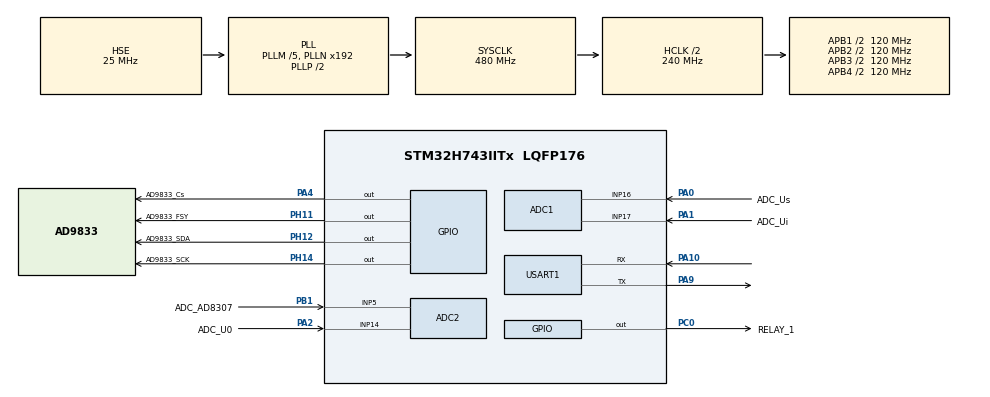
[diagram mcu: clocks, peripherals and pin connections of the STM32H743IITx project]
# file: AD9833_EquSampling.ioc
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ADC1.Channel-0\#ChannelRegularConversion=ADC_CHANNEL_16
ADC1.Channel-1\#ChannelRegularConversion=ADC_CHANNEL_17
ADC1.ConversionDataManagement=ADC_CONVERSIONDATA_DMA_ONESHOT
ADC1.ExternalTrigConv=ADC_EXTERNALTRIG_T3_TRGO
ADC1.NbrOfConversion=2
ADC1.NbrOfConversionFlag=1
ADC1.OffsetNumber-0\#ChannelRegularConversion=ADC_OFFSET_NONE
ADC1.OffsetNumber-1\#ChannelRegularConversion=ADC_OFFSET_NONE
ADC1.OffsetSignedSaturation-0\#ChannelRegularConversion=DISABLE
ADC1.OffsetSignedSaturation-1\#ChannelRegularConversion=DISABLE
ADC1.Rank-0\#ChannelRegularConversion=1
ADC1.Rank-1\#ChannelRegularConversion=2
ADC1.SamplingTime-0\#ChannelRegularConversion=ADC_SAMPLETIME_64CYCLES_5
ADC1.SamplingTime-1\#ChannelRegularConversion=ADC_SAMPLETIME_64CYCLES_5
ADC1.master=1
ADC2.Channel-0\#ChannelRegularConversion=ADC_CHANNEL_14
ADC2.Channel-1\#ChannelRegularConversion=ADC_CHANNEL_5
ADC2.ConversionDataManagement=ADC_CONVERSIONDATA_DMA_ONESHOT
ADC2.ExternalTrigConv=ADC_EXTERNALTRIG_T3_TRGO
ADC2.NbrOfConversion=2
ADC2.NbrOfConversionFlag=1
ADC2.OffsetNumber-0\#ChannelRegularConversion=ADC_OFFSET_NONE
ADC2.OffsetNumber-1\#ChannelRegularConversion=ADC_OFFSET_NONE
ADC2.OffsetSignedSaturation-0\#ChannelRegularConversion=DISABLE
ADC2.OffsetSignedSaturation-1\#ChannelRegularConversion=DISABLE
ADC2.Rank-0\#ChannelRegularConversion=1
ADC2.Rank-1\#ChannelRegularConversion=2
ADC2.SamplingTime-0\#ChannelRegularConversion=ADC_SAMPLETIME_64CYCLES_5
ADC2.SamplingTime-1\#ChannelRegularConversion=ADC_SAMPLETIME_64CYCLES_5
Dma.ADC1.0.Direction=DMA_PERIPH_TO_MEMORY
Dma.ADC1.0.EventEnable=DISABLE
Dma.ADC1.0.FIFOMode=DMA_FIFOMODE_DISABLE
Dma.ADC1.0.Instance=DMA1_Stream0
Dma.ADC1.0.MemDataAlignment=DMA_MDATAALIGN_HALFWORD
Dma.ADC1.0.MemInc=DMA_MINC_ENABLE
Dma.ADC1.0.Mode=DMA_NORMAL
Dma.ADC1.0.PeriphDataAlignment=DMA_PDATAALIGN_HALFWORD
Dma.ADC1.0.PeriphInc=DMA_PINC_DISABLE
Dma.ADC1.0.Polarity=HAL_DMAMUX_REQ_GEN_RISING
Dma.ADC1.0.Priority=DMA_PRIORITY_LOW
Dma.ADC1.0.RequestNumber=1
Dma.ADC1.0.SignalID=NONE
Dma.ADC1.0.SyncEnable=DISABLE
Dma.ADC1.0.SyncPolarity=HAL_DMAMUX_SYNC_NO_EVENT
Dma.ADC1.0.SyncRequestNumber=1
Dma.ADC1.0.SyncSignalID=NONE
Dma.ADC2.1.Direction=DMA_PERIPH_TO_MEMORY
Dma.ADC2.1.EventEnable=DISABLE
Dma.ADC2.1.FIFOMode=DMA_FIFOMODE_DISABLE
Dma.ADC2.1.Instance=DMA1_Stream1
Dma.ADC2.1.MemDataAlignment=DMA_MDATAALIGN_HALFWORD
Dma.ADC2.1.MemInc=DMA_MINC_ENABLE
Dma.ADC2.1.Mode=DMA_NORMAL
Dma.ADC2.1.PeriphDataAlignment=DMA_PDATAALIGN_HALFWORD
Dma.ADC2.1.PeriphInc=DMA_PINC_DISABLE
Dma.ADC2.1.Polarity=HAL_DMAMUX_REQ_GEN_RISING
Dma.ADC2.1.Priority=DMA_PRIORITY_LOW
Dma.ADC2.1.RequestNumber=1
Dma.ADC2.1.SignalID=NONE
Dma.ADC2.1.SyncEnable=DISABLE
Dma.ADC2.1.SyncPolarity=HAL_DMAMUX_SYNC_NO_EVENT
Dma.ADC2.1.SyncRequestNumber=1
Dma.ADC2.1.SyncSignalID=NONE
Dma.Request0=ADC1
Dma.Request1=ADC2
Mcu.Family=STM32H7
Mcu.Name=STM32H743IITx
Mcu.Package=LQFP176
NVIC.DMA1_Stream0_IRQn=true\:0\:0\:false\:false\:true\:false\:true
NVIC.DMA1_Stream1_IRQn=true\:0\:0\:false\:false\:true\:false\:true
NVIC.PriorityGroup=NVIC_PRIORITYGROUP_4
NVIC.USART1_IRQn=true\:0\:0\:false\:false\:true\:true\:true
PA0.GPIO_Label=ADC_Us
PA0.Mode=IN16-Single-Ended
PA0.Signal=ADC1_INP16
PA1.GPIO_Label=ADC_Ui
PA1.Mode=IN17-Single-Ended
PA1.Signal=ADC1_INP17
PA10.Mode=Asynchronous
PA10.Signal=USART1_RX
PA13\ (JTMS/SWDIO).Mode=Serial_Wire
PA13\ (JTMS/SWDIO).Signal=DEBUG_JTMS-SWDIO
PA14\ (JTCK/SWCLK).Mode=Serial_Wire
PA14\ (JTCK/SWCLK).Signal=DEBUG_JTCK-SWCLK
PA2.GPIO_Label=ADC_U0
PA2.Signal=ADCx_INP14
PA4.GPIO_Label=AD9833_Cs
PA4.PinState=GPIO_PIN_SET
PA4.Signal=GPIO_Output
PA9.Mode=Asynchronous
PA9.Signal=USART1_TX
PB1.GPIO_Label=ADC_AD8307
PB1.Signal=ADCx_INP5
PC0.GPIO_Label=RELAY_1
PC0.Signal=GPIO_Output
PC14-OSC32_IN\ (OSC32_IN).Mode=LSE-External-Oscillator
PC14-OSC32_IN\ (OSC32_IN).Signal=RCC_OSC32_IN
PC15-OSC32_OUT\ (OSC32_OUT).Mode=LSE-External-Oscillator
PC15-OSC32_OUT\ (OSC32_OUT).Signal=RCC_OSC32_OUT
PH0-OSC_IN\ (PH0).Mode=HSE-External-Oscillator
PH0-OSC_IN\ (PH0).Signal=RCC_OSC_IN
PH1-OSC_OUT\ (PH1).Mode=HSE-External-Oscillator
PH1-OSC_OUT\ (PH1).Signal=RCC_OSC_OUT
PH11.GPIO_Label=AD9833_FSY
PH11.GPIO_Speed=GPIO_SPEED_FREQ_HIGH
PH11.PinState=GPIO_PIN_SET
PH11.Signal=GPIO_Output
PH12.GPIO_Label=AD9833_SDA
PH12.GPIO_Speed=GPIO_SPEED_FREQ_HIGH
PH12.PinState=GPIO_PIN_SET
PH12.Signal=GPIO_Output
PH14.GPIO_Label=AD9833_SCK
PH14.GPIO_Speed=GPIO_SPEED_FREQ_HIGH
PH14.PinState=GPIO_PIN_SET
PH14.Signal=GPIO_Output
ProjectManager.HeapSize=0x200
ProjectManager.StackSize=0x400
ProjectManager.TargetToolchain=MDK-ARM V5
RCC.ADCFreq_Value=75000000
RCC.APB1Freq_Value=120000000
RCC.APB2Freq_Value=120000000
RCC.APB3Freq_Value=120000000
RCC.APB4Freq_Value=120000000
RCC.CortexFreq_Value=480000000
RCC.D1PPRE=RCC_APB3_DIV2
RCC.D2PPRE1=RCC_APB1_DIV2
RCC.D2PPRE2=RCC_APB2_DIV2
RCC.D3PPRE=RCC_APB4_DIV2
RCC.DIVM1=5
RCC.DIVM2=2
RCC.DIVN1=192
RCC.DIVN2=12
RCC.HCLKFreq_Value=240000000
RCC.HPRE=RCC_HCLK_DIV2
RCC.PLL2FRACN=0
RCC.PLLFRACN=0
RCC.PLLSourceVirtual=RCC_PLLSOURCE_HSE
RCC.PWR_Regulator_Voltage_Scale=PWR_REGULATOR_VOLTAGE_SCALE0
RCC.RTCEnable-ClockTree=true
RCC.SYSCLKFreq_VALUE=480000000
RCC.SYSCLKSource=RCC_SYSCLKSOURCE_PLLCLK
RCC.USBFreq_Value=480000000
SH.ADCx_INP14.0=ADC2_INP14,IN14-Single-Ended
SH.ADCx_INP5.0=ADC2_INP5,IN5-Single-Ended
TIM3.Period=1000-1
TIM3.Prescaler=12-1
TIM3.TIM_MasterOutputTrigger=TIM_TRGO_UPDATE
USART1.VirtualMode-Asynchronous=VM_ASYNC
VP_TIM3_VS_ClockSourceINT.Mode=Internal
board=custom

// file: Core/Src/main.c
/* USER CODE BEGIN Header */
/**
 ******************************************************************************
 * @file           : main.c
 * @brief          : Main program body
 ******************************************************************************
 * @attention
 *
 * <h2><center>&copy; Copyright (c) 2026 STMicroelectronics.
 * All rights reserved.</center></h2>
 *
 * This software component is licensed by ST under BSD 3-Clause license,
 * the "License"; You may not use this file except in compliance with the
 * License. You may obtain a copy of the License at:
 *                        opensource.org/licenses/BSD-3-Clause
 *
 ******************************************************************************
 */
/* USER CODE END Header */
#include "main.h"
#include "adc.h"
#include "dma.h"
#include "gpio.h"
#include "tim.h"
#include "usart.h"

/* USER CODE BEGIN Includes */
#include "FFT.h"
#include "HMI.h"
#include "calculate.h"
#include "math.h"
#include "usart_deal.h"

/* USER CODE END Includes */

/* USER CODE BEGIN PV */
#define ADC_SIZE 1024
#define rank 2
#define TIM3_COUNTER_CLK_HZ 20000000
/* 通道配置：ADC_Us=IN16, ADC_Ui=IN17, ADC_U0=IN5, ADC_8307=IN14
   rank1是buffer的偶数项，rank2是奇数项
   ADC1: rank1=Us, rank2=Ui
   ADC2: rank1=U0, rank2=AD8307 detector output */
uint16_t ADC_Buffer1[ADC_SIZE * rank] = {0};
uint16_t ADC_Buffer2[ADC_SIZE * rank] = {0};
uint16_t ADC_Us[ADC_SIZE] = {0};
uint16_t ADC_U0[ADC_SIZE] = {0};
uint16_t ADC_Ui[ADC_SIZE] = {0};
uint16_t ADC_8307[ADC_SIZE] = {0};

/* Set only after both ADC1 and ADC2 finish one complete DMA frame. */
volatile uint8_t ADC_Flag = 0;
static volatile uint8_t adc1_done = 0;
static volatile uint8_t adc2_done = 0;
/* Input/output resistance values used by the basic measurement functions. */
int RL = 2000;
int Rs = 10000;
int r = 1;
/* USER CODE END PV */

void SystemClock_Config(void);
void PeriphCommonClock_Config(void);

/* USER CODE BEGIN 0 */
void Set_ADC_SampleRate(float sample_rate_hz)
{
    uint32_t arr;

    if (sample_rate_hz < 500.0f)
        sample_rate_hz = 500.0f;

    arr = (uint32_t)((TIM3_COUNTER_CLK_HZ / sample_rate_hz) + 0.5f);

    if (arr > 0U)
        arr -= 1U;

    HAL_TIM_Base_Stop(&htim3);

    __HAL_TIM_SET_AUTORELOAD(&htim3, arr);
    __HAL_TIM_SET_COUNTER(&htim3, 0U);

    HAL_TIM_Base_Start(&htim3);

    FFT_SetSampling(TIM3_COUNTER_CLK_HZ / (float)(arr + 1U));
}

void Split_ADC_Buffers(void)
{
    for (uint16_t i = 0; i < ADC_SIZE; i++)
    {
        ADC_Us[i] = ADC_Buffer1[2U * i];
        ADC_Ui[i] = ADC_Buffer1[2U * i + 1U];
        ADC_U0[i] = ADC_Buffer2[2U * i];
        ADC_8307[i] = ADC_Buffer2[2U * i + 1U];
    }
}

/* Start one new synchronous acquisition frame on ADC1 and ADC2. */
void Start_ADC_Capture(void)
{
    HAL_ADC_Stop_DMA(&hadc1);
    HAL_ADC_Stop_DMA(&hadc2);

    adc1_done = 0;
    adc2_done = 0;
    ADC_Flag = 0;

    HAL_ADC_Start_DMA(&hadc1, (uint32_t *)ADC_Buffer1, ADC_SIZE * rank);
    HAL_ADC_Start_DMA(&hadc2, (uint32_t *)ADC_Buffer2, ADC_SIZE * rank);
}

/* Blocking helper for FFT/sweep functions when a fresh full frame is needed. */
uint8_t Acquire_All_ADC_Samples_Blocking(uint32_t timeout_ms)
{
    uint32_t tickstart = HAL_GetTick();

    Start_ADC_Capture();

    while (ADC_Flag == 0U)
    {
        if ((HAL_GetTick() - tickstart) > timeout_ms)
        {
            return 0U;
        }
    }

    ADC_Flag = 0U;
    Split_ADC_Buffers();
    return 1U;
}
/* USER CODE END 0 */

int main(void)
{

    /* MCU Configuration--------------------------------------------------------*/

    /* Reset of all peripherals, Initializes the Flash interface and the Systick. */
    HAL_Init();

    /* Configure the system clock */
    SystemClock_Config();

    /* Configure the peripherals common clocks */
    PeriphCommonClock_Config();

    /* Initialize all configured peripherals */
    MX_GPIO_Init();
    MX_DMA_Init();
    MX_ADC1_Init();
    MX_ADC2_Init();
    MX_USART1_UART_Init();
    MX_TIM3_Init();
    /* USER CODE BEGIN 2 */
    HAL_ADCEx_Calibration_Start(&hadc1, ADC_CALIB_OFFSET, ADC_SINGLE_ENDED);
    HAL_ADCEx_Calibration_Start(&hadc2, ADC_CALIB_OFFSET, ADC_SINGLE_ENDED);
    HAL_TIM_Base_Start(&htim3);
    ad9833_init();
    ad9833_set_amplitude(128);
    HAL_Delay(1000); // Nextion 在这 1 秒内完成启动
    My_Usart_Init(); // ← 现在 Nextion 能正确接收并执行 bkcmd=0
    Start_ADC_Capture();

    /* USER CODE END 2 */

    /* Infinite loop */
    /* USER CODE BEGIN WHILE */
    while (1)
    {
        //         if(ADC_Flag==1){
        //              Split_ADC_Buffers();

        //              Calculate_Input_Impedance(Rs);
        //              Calculate_Output_Impedance(RL);
        //              Calculate_Gain();
        //              //sweep_freq(1000, 200000, 1000);
        //              Start_ADC_Capture();
        //           }

        main_state();

        /* USER CODE END WHILE */

    }
}

void SystemClock_Config(void)
{
    RCC_OscInitTypeDef RCC_OscInitStruct = {0};
    RCC_ClkInitTypeDef RCC_ClkInitStruct = {0};

    /** Supply configuration update enable
     */
    HAL_PWREx_ConfigSupply(PWR_LDO_SUPPLY);
    /** Configure the main internal regulator output voltage
     */
    __HAL_PWR_VOLTAGESCALING_CONFIG(PWR_REGULATOR_VOLTAGE_SCALE0);

    while (!__HAL_PWR_GET_FLAG(PWR_FLAG_VOSRDY))
    {
    }
    /** Macro to configure the PLL clock source
     */
    __HAL_RCC_PLL_PLLSOURCE_CONFIG(RCC_PLLSOURCE_HSE);
    /** Initializes the RCC Oscillators according to the specified parameters
     * in the RCC_OscInitTypeDef structure.
     */
    RCC_OscInitStruct.OscillatorType = RCC_OSCILLATORTYPE_HSE;
    RCC_OscInitStruct.HSEState = RCC_HSE_ON;
    RCC_OscInitStruct.PLL.PLLState = RCC_PLL_ON;
    RCC_OscInitStruct.PLL.PLLSource = RCC_PLLSOURCE_HSE;
    RCC_OscInitStruct.PLL.PLLM = 5;
    RCC_OscInitStruct.PLL.PLLN = 192;
    RCC_OscInitStruct.PLL.PLLP = 2;
    RCC_OscInitStruct.PLL.PLLQ = 2;
    RCC_OscInitStruct.PLL.PLLR = 2;
    RCC_OscInitStruct.PLL.PLLRGE = RCC_PLL1VCIRANGE_2;
    RCC_OscInitStruct.PLL.PLLVCOSEL = RCC_PLL1VCOWIDE;
    RCC_OscInitStruct.PLL.PLLFRACN = 0;
    if (HAL_RCC_OscConfig(&RCC_OscInitStruct) != HAL_OK)
    {
        Error_Handler();
    }
    /** Initializes the CPU, AHB and APB buses clocks
     */
    RCC_ClkInitStruct.ClockType = RCC_CLOCKTYPE_HCLK | RCC_CLOCKTYPE_SYSCLK | RCC_CLOCKTYPE_PCLK1 | RCC_CLOCKTYPE_PCLK2 | RCC_CLOCKTYPE_D3PCLK1 | RCC_CLOCKTYPE_D1PCLK1;
    RCC_ClkInitStruct.SYSCLKSource = RCC_SYSCLKSOURCE_PLLCLK;
    RCC_ClkInitStruct.SYSCLKDivider = RCC_SYSCLK_DIV1;
    RCC_ClkInitStruct.AHBCLKDivider = RCC_HCLK_DIV2;
    RCC_ClkInitStruct.APB3CLKDivider = RCC_APB3_DIV2;
    RCC_ClkInitStruct.APB1CLKDivider = RCC_APB1_DIV2;
    RCC_ClkInitStruct.APB2CLKDivider = RCC_APB2_DIV2;
    RCC_ClkInitStruct.APB4CLKDivider = RCC_APB4_DIV2;

    if (HAL_RCC_ClockConfig(&RCC_ClkInitStruct, FLASH_LATENCY_4) != HAL_OK)
    {
        Error_Handler();
    }
}

void PeriphCommonClock_Config(void)
{
    RCC_PeriphCLKInitTypeDef PeriphClkInitStruct = {0};

    /** Initializes the peripherals clock
     */
    PeriphClkInitStruct.PeriphClockSelection = RCC_PERIPHCLK_ADC;
    PeriphClkInitStruct.PLL2.PLL2M = 2;
    PeriphClkInitStruct.PLL2.PLL2N = 12;
    PeriphClkInitStruct.PLL2.PLL2P = 2;
    PeriphClkInitStruct.PLL2.PLL2Q = 2;
    PeriphClkInitStruct.PLL2.PLL2R = 2;
    PeriphClkInitStruct.PLL2.PLL2RGE = RCC_PLL2VCIRANGE_3;
    PeriphClkInitStruct.PLL2.PLL2VCOSEL = RCC_PLL2VCOMEDIUM;
    PeriphClkInitStruct.PLL2.PLL2FRACN = 0;
    PeriphClkInitStruct.AdcClockSelection = RCC_ADCCLKSOURCE_PLL2;
    if (HAL_RCCEx_PeriphCLKConfig(&PeriphClkInitStruct) != HAL_OK)
    {
        Error_Handler();
    }
}

/* USER CODE BEGIN 4 */
void HAL_ADC_ConvCpltCallback(ADC_HandleTypeDef *hadc)
{
    if (hadc == &hadc1)
    {
        HAL_ADC_Stop_DMA(hadc);
        adc1_done = 1U;
    }
    else if (hadc == &hadc2)
    {
        HAL_ADC_Stop_DMA(hadc);
        adc2_done = 1U;
    }

    if (adc1_done == 1U && adc2_done == 1U)
    {
        ADC_Flag = 1U;
    }
}
/* USER CODE END 4 */

void Error_Handler(void)
{
    __disable_irq();
    while (1)
    {
    }
}

/************************ (C) COPYRIGHT STMicroelectronics *****END OF FILE****/
